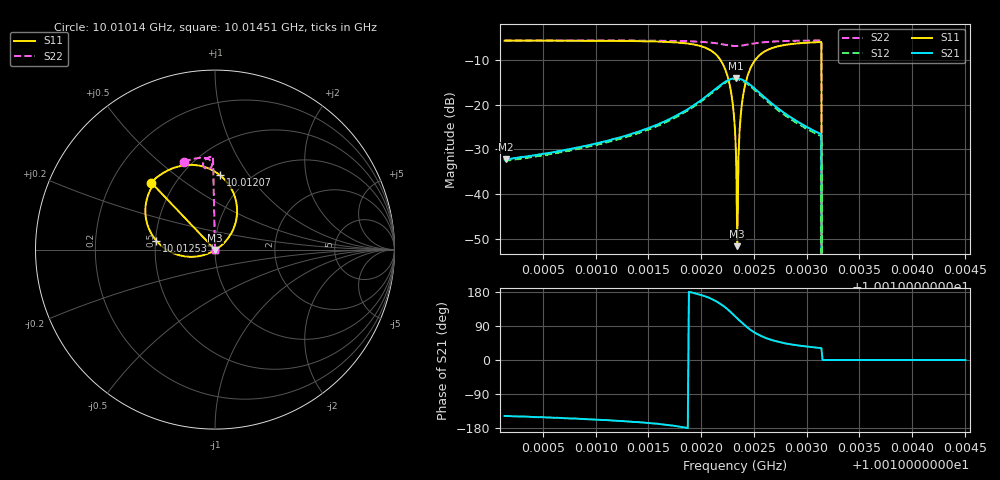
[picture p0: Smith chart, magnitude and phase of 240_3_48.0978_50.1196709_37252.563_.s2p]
#  HZ  S  RI  R  50.00
! Rohde & Schwarz Vector Network Analyzer
! Rohde-Schwarz,ZNB20-2Port,1311601062101988,3.16
! Created: UTC 12/23/2023, 3:58:40 AM
! freq[Hz]  re:S11  im:S11  re:S21  im:S21  re:S12  im:S12  re:S22  im:S22
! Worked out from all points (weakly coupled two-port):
!   401 points, 10.01014 GHz to 10.01451 GHz, reference 50 ohm
!   highest |S21| = -14.12 dB at 10.01233 GHz (marker M1); lowest = -32.3 dB at 10.01015 GHz (marker M2)
!   lowest |S11| = -51.6 dB at 10.01234 GHz (marker M3), VSWR 1.01, Z = 50.1 - j0.242 ohm
!   |S11| at or under -10 dB: 10.01218 GHz to 10.01251 GHz (333.1 kHz wide, 0.00333 % of centre); 10.01314 GHz to end of sweep
!   |S22| runs from - to -5.7 dB; largest |S21 - S12| = 0.0095
!   S11 on the Smith chart (normalised r, x): 10.01014 GHz: 0.37, +0.37; 10.01207 GHz: 0.74, +0.74; 10.01253 GHz: 0.50, +0.06; 10.01451 GHz: 1.00, +0.00
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1.0010136e10  -0.3588 0.3718  -0.0206 -0.013  -0.0191 -0.0135  -0.1735 0.489
1.0010147e10  -0.358 0.3725  -0.0206 -0.013  -0.0193 -0.0136  -0.173 0.4893
1.0010868e10  -0.3026 0.418  -0.0307 -0.0141  -0.029 -0.015  -0.1259 0.5037
1.00116e10  -0.1936 0.4658  -0.0598 -0.0117  -0.0566 -0.0143  -0.0708 0.5114
1.001207e10  0.0282 0.4144  -0.1246 0.034  -0.1227 0.0265  -0.0232 0.4941
1.0012179e10  0.1086 0.3003  -0.1394 0.0849  -0.1405 0.0756  -0.0161 0.4754
1.0012256e10  0.1166 0.1583  -0.1268 0.1373  -0.1296 0.1293  -0.0216 0.4586
1.00123e10  0.077 0.0689  -0.1018 0.1664  -0.106 0.1588  -0.0309 0.4514
1.0012311e10  0.0607 0.0481  -0.0935 0.1724  -0.0982 0.1647  -0.0336 0.4501
1.0012321e10  0.0431 0.0297  -0.085 0.1773  -0.0896 0.1701  -0.0366 0.4493
1.0012332e10  0.0229 0.0125  -0.0756 0.1817  -0.0805 0.1745  -0.0395 0.4489
1.0012343e10  0.00101 -0.00242  -0.066 0.1848  -0.0715 0.1778  -0.0426 0.4489
1.0012365e10  -0.0456 -0.025  -0.0468 0.1883  -0.0521 0.1817  -0.0485 0.4503
1.0012376e10  -0.0693 -0.0322  -0.0376 0.1886  -0.0419 0.1822  -0.0516 0.4514
1.0012409e10  -0.1425 -0.0401  -0.00969 0.1843  -0.0144 0.1782  -0.0588 0.4565
1.0012463e10  -0.2469 -0.0131  0.0275 0.1645  0.0213 0.1593  -0.0654 0.4676
1.0012529e10  -0.3275 0.0503  0.0514 0.1339  0.0447 0.1301  -0.066 0.4814
1.0013053e10  -0.3548 0.3437  0.0432 0.0291  0.0399 0.0296  -0.0186 0.5178
1.0013119e10  -0.3466 0.3574  0.0405 0.0252  0.0375 0.0259  -0.0129 0.519
1.0013174e10  0 0  0 0  0 0  0 0
1.0013785e10  0 0  0 0  0 0  0 0
1.0014506e10  0 0  0 0  0 0  0 0
